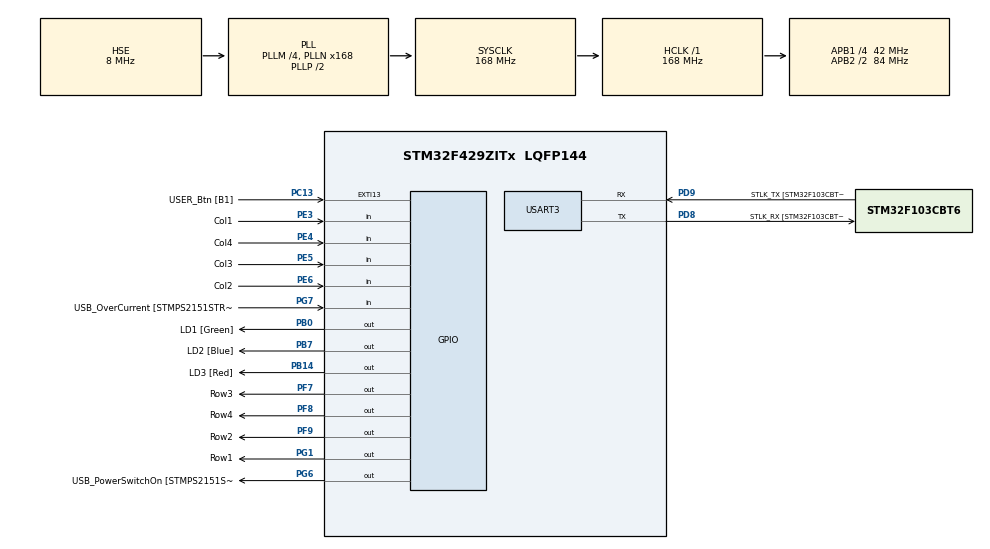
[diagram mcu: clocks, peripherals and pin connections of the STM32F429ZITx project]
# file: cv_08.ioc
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Mcu.Family=STM32F4
Mcu.Name=STM32F429ZITx
Mcu.Package=LQFP144
NVIC.PriorityGroup=NVIC_PRIORITYGROUP_4
NVIC.TIM3_IRQn=true\:0\:0\:false\:false\:true\:true\:true
PA1.GPIO_Label=RMII_REF_CLK [LAN8742A-CZ-TR_REFCLK0]
PA1.Signal=ETH_REF_CLK
PA10.GPIO_Label=USB_ID
PA10.Signal=USB_OTG_FS_ID
PA11.GPIO_Label=USB_DM
PA11.Signal=USB_OTG_FS_DM
PA12.GPIO_Label=USB_DP
PA12.Signal=USB_OTG_FS_DP
PA13.GPIO_Label=TMS
PA13.Mode=Serial_Wire
PA13.Signal=SYS_JTMS-SWDIO
PA14.GPIO_Label=TCK
PA14.Mode=Serial_Wire
PA14.Signal=SYS_JTCK-SWCLK
PA2.GPIO_Label=RMII_MDIO [LAN8742A-CZ-TR_MDIO]
PA2.Signal=ETH_MDIO
PA7.GPIO_Label=RMII_CRS_DV [LAN8742A-CZ-TR_CRS_DV]
PA7.Signal=ETH_CRS_DV
PA8.GPIO_Label=USB_SOF [TP1]
PA8.Signal=USB_OTG_FS_SOF
PA9.GPIO_Label=USB_VBUS
PA9.Signal=USB_OTG_FS_VBUS
PB0.GPIO_Label=LD1 [Green]
PB0.Signal=GPIO_Output
PB13.GPIO_Label=RMII_TXD1 [LAN8742A-CZ-TR_TXD1]
PB13.Signal=ETH_TXD1
PB14.GPIO_Label=LD3 [Red]
PB14.Signal=GPIO_Output
PB7.GPIO_Label=LD2 [Blue]
PB7.Signal=GPIO_Output
PC1.GPIO_Label=RMII_MDC [LAN8742A-CZ-TR_MDC]
PC1.Signal=ETH_MDC
PC13.GPIO_Label=USER_Btn [B1]
PC13.Signal=GPXTI13
PC14/OSC32_IN.Mode=LSE-External-Oscillator
PC14/OSC32_IN.Signal=RCC_OSC32_IN
PC15/OSC32_OUT.Mode=LSE-External-Oscillator
PC15/OSC32_OUT.Signal=RCC_OSC32_OUT
PC4.GPIO_Label=RMII_RXD0 [LAN8742A-CZ-TR_RXD0]
PC4.Signal=ETH_RXD0
PC5.GPIO_Label=RMII_RXD1 [LAN8742A-CZ-TR_RXD1]
PC5.Signal=ETH_RXD1
PD8.GPIO_Label=STLK_RX [STM32F103CBT6_PA3]
PD8.Mode=Asynchronous
PD8.Signal=USART3_TX
PD9.GPIO_Label=STLK_TX [STM32F103CBT6_PA2]
PD9.Mode=Asynchronous
PD9.Signal=USART3_RX
PE3.GPIO_Label=Col1
PE3.GPIO_PuPd=GPIO_PULLUP
PE3.Signal=GPIO_Input
PE4.GPIO_Label=Col4
PE4.GPIO_PuPd=GPIO_PULLUP
PE4.Signal=GPIO_Input
PE5.GPIO_Label=Col3
PE5.GPIO_PuPd=GPIO_PULLUP
PE5.Signal=GPIO_Input
PE6.GPIO_Label=Col2
PE6.GPIO_PuPd=GPIO_PULLUP
PE6.Signal=GPIO_Input
PF7.GPIO_Label=Row3
PF7.GPIO_ModeDefaultOutputPP=GPIO_MODE_OUTPUT_OD
PF7.Signal=GPIO_Output
PF8.GPIO_Label=Row4
PF8.GPIO_ModeDefaultOutputPP=GPIO_MODE_OUTPUT_OD
PF8.Signal=GPIO_Output
PF9.GPIO_Label=Row2
PF9.GPIO_ModeDefaultOutputPP=GPIO_MODE_OUTPUT_OD
PF9.Signal=GPIO_Output
PG1.GPIO_Label=Row1
PG1.GPIO_ModeDefaultOutputPP=GPIO_MODE_OUTPUT_OD
PG1.Signal=GPIO_Output
PG11.GPIO_Label=RMII_TX_EN [LAN8742A-CZ-TR_TXEN]
PG11.Signal=ETH_TX_EN
PG13.GPIO_Label=RMII_TXD0 [LAN8742A-CZ-TR_TXD0]
PG13.Signal=ETH_TXD0
PG6.GPIO_Label=USB_PowerSwitchOn [STMPS2151STR_EN]
PG6.Signal=GPIO_Output
PG7.GPIO_Label=USB_OverCurrent [STMPS2151STR_FAULT]
PG7.Signal=GPIO_Input
PH0/OSC_IN.GPIO_Label=MCO [STM32F103CBT6_PA8]
PH0/OSC_IN.Mode=HSE-External-Clock-Source
PH0/OSC_IN.Signal=RCC_OSC_IN
PH1/OSC_OUT.Mode=HSE-External-Clock-Source
PH1/OSC_OUT.Signal=RCC_OSC_OUT
ProjectManager.HeapSize=0x200
ProjectManager.StackSize=0x400
ProjectManager.TargetToolchain=STM32CubeIDE
RCC.48MHZClocksFreq_Value=48000000
RCC.AHBFreq_Value=168000000
RCC.APB1CLKDivider=RCC_HCLK_DIV4
RCC.APB1Freq_Value=42000000
RCC.APB1TimFreq_Value=84000000
RCC.APB2CLKDivider=RCC_HCLK_DIV2
RCC.APB2Freq_Value=84000000
RCC.APB2TimCLKDivider=2
RCC.APB2TimFreq_Value=168000000
RCC.CortexFreq_Value=168000000
RCC.HCLKFreq_Value=168000000
RCC.HSE_VALUE=8000000
RCC.HSI_VALUE=16000000
RCC.PLLM=4
RCC.PLLMUL=RCC_PLL_MUL9
RCC.PLLN=168
RCC.PLLQ=7
RCC.PLLSourceVirtual=RCC_PLLSOURCE_HSE
RCC.PRESCALERUSB=RCC_USBCLKSOURCE_PLL_DIV1_5
RCC.SYSCLKFreq_VALUE=168000000
RCC.SYSCLKSource=RCC_SYSCLKSOURCE_PLLCLK
RCC.SYSCLKSourceVirtual=RCC_SYSCLKSOURCE_PLLCLK
RCC.USBFreq_Value=48000000
RCC.VCOOutputFreq_Value=336000000
TIM3.AutoReloadPreload=TIM_AUTORELOAD_PRELOAD_ENABLE
TIM3.Period=99
TIM3.Prescaler=8399
USART3.VirtualMode=VM_ASYNC
VP_TIM3_VS_ClockSourceINT.Mode=Internal
board=NUCLEO-F429ZI

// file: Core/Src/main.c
/* USER CODE BEGIN Header */
/**
  ******************************************************************************
  * @file           : main.c
  * @brief          : Main program body
  ******************************************************************************
  * @attention
  *
  * <h2><center>&copy; Copyright (c) 2021 STMicroelectronics.
  * All rights reserved.</center></h2>
  *
  * This software component is licensed by ST under BSD 3-Clause license,
  * the "License"; You may not use this file except in compliance with the
  * License. You may obtain a copy of the License at:
  *                        opensource.org/licenses/BSD-3-Clause
  *
  ******************************************************************************
  */
/* USER CODE END Header */
#include "main.h"

/* USER CODE BEGIN Includes */
#include <stdio.h>

/* USER CODE END Includes */

TIM_HandleTypeDef htim3;

UART_HandleTypeDef huart3;

/* USER CODE BEGIN PV */
volatile int key;
static const int locker [5]={ 7, 9, 3, 2, 12 };
static uint8_t input [5]={0, 0, 0, 0, 0};

/* USER CODE END PV */

void SystemClock_Config(void);
static void MX_GPIO_Init(void);
static void MX_USART3_UART_Init(void);
static void MX_TIM3_Init(void);

/* USER CODE BEGIN 0 */
	int __io_putchar(int ch)
	{
	 ITM_SendChar(ch);
	return 0;
	}

/* USER CODE END 0 */

int main(void)
{
  /* USER CODE BEGIN 1 */
	uint8_t Pointer = 0;
	uint32_t tick;
  /* USER CODE END 1 */

  /* MCU Configuration--------------------------------------------------------*/

  /* Reset of all peripherals, Initializes the Flash interface and the Systick. */
  HAL_Init();

  /* Configure the system clock */
  SystemClock_Config();

  /* Initialize all configured peripherals */
  MX_GPIO_Init();
  MX_USART3_UART_Init();
  MX_TIM3_Init();
  /* USER CODE BEGIN 2 */
  HAL_TIM_Base_Start_IT(&htim3);
  /* USER CODE END 2 */

  /* Infinite loop */
  /* USER CODE BEGIN WHILE */
  while (1)
  {

	  //HAL_GPIO_TogglePin(LD1_GPIO_Port, LD1_Pin);
	  if(key != -1) {
		  if (HAL_GetTick() > (tick + 3000)) {
			  Pointer = 0;
			  printf("timeout\n");
		  }
		  printf("stisknuto: %d \n", key);
		  //input[Pointer] = key;
		  if (key == locker[Pointer]){
			  Pointer++;
			  tick = HAL_GetTick();
		  } else {
			  Pointer = 0;
		  }

		  if (Pointer == 5) {
			  HAL_GPIO_TogglePin(LD1_GPIO_Port, LD1_Pin);
			  printf("odemceno\n");
		  }
		  HAL_Delay(200);
		  key = -1;

	  }

	  /* USER CODE END WHILE */

  }
}

void SystemClock_Config(void)
{
  RCC_OscInitTypeDef RCC_OscInitStruct = {0};
  RCC_ClkInitTypeDef RCC_ClkInitStruct = {0};

  /** Configure the main internal regulator output voltage
  */
  __HAL_RCC_PWR_CLK_ENABLE();
  __HAL_PWR_VOLTAGESCALING_CONFIG(PWR_REGULATOR_VOLTAGE_SCALE1);
  /** Initializes the RCC Oscillators according to the specified parameters
  * in the RCC_OscInitTypeDef structure.
  */
  RCC_OscInitStruct.OscillatorType = RCC_OSCILLATORTYPE_HSE;
  RCC_OscInitStruct.HSEState = RCC_HSE_BYPASS;
  RCC_OscInitStruct.PLL.PLLState = RCC_PLL_ON;
  RCC_OscInitStruct.PLL.PLLSource = RCC_PLLSOURCE_HSE;
  RCC_OscInitStruct.PLL.PLLM = 4;
  RCC_OscInitStruct.PLL.PLLN = 168;
  RCC_OscInitStruct.PLL.PLLP = RCC_PLLP_DIV2;
  RCC_OscInitStruct.PLL.PLLQ = 7;
  if (HAL_RCC_OscConfig(&RCC_OscInitStruct) != HAL_OK)
  {
    Error_Handler();
  }
  /** Initializes the CPU, AHB and APB buses clocks
  */
  RCC_ClkInitStruct.ClockType = RCC_CLOCKTYPE_HCLK|RCC_CLOCKTYPE_SYSCLK
                              |RCC_CLOCKTYPE_PCLK1|RCC_CLOCKTYPE_PCLK2;
  RCC_ClkInitStruct.SYSCLKSource = RCC_SYSCLKSOURCE_PLLCLK;
  RCC_ClkInitStruct.AHBCLKDivider = RCC_SYSCLK_DIV1;
  RCC_ClkInitStruct.APB1CLKDivider = RCC_HCLK_DIV4;
  RCC_ClkInitStruct.APB2CLKDivider = RCC_HCLK_DIV2;

  if (HAL_RCC_ClockConfig(&RCC_ClkInitStruct, FLASH_LATENCY_5) != HAL_OK)
  {
    Error_Handler();
  }
}

static void MX_TIM3_Init(void)
{

  TIM_ClockConfigTypeDef sClockSourceConfig = {0};
  TIM_MasterConfigTypeDef sMasterConfig = {0};

  htim3.Instance = TIM3;
  htim3.Init.Prescaler = 8399;
  htim3.Init.CounterMode = TIM_COUNTERMODE_UP;
  htim3.Init.Period = 99;
  htim3.Init.ClockDivision = TIM_CLOCKDIVISION_DIV1;
  htim3.Init.AutoReloadPreload = TIM_AUTORELOAD_PRELOAD_ENABLE;
  if (HAL_TIM_Base_Init(&htim3) != HAL_OK)
  {
    Error_Handler();
  }
  sClockSourceConfig.ClockSource = TIM_CLOCKSOURCE_INTERNAL;
  if (HAL_TIM_ConfigClockSource(&htim3, &sClockSourceConfig) != HAL_OK)
  {
    Error_Handler();
  }
  sMasterConfig.MasterOutputTrigger = TIM_TRGO_RESET;
  sMasterConfig.MasterSlaveMode = TIM_MASTERSLAVEMODE_DISABLE;
  if (HAL_TIMEx_MasterConfigSynchronization(&htim3, &sMasterConfig) != HAL_OK)
  {
    Error_Handler();
  }

}

static void MX_USART3_UART_Init(void)
{

  huart3.Instance = USART3;
  huart3.Init.BaudRate = 115200;
  huart3.Init.WordLength = UART_WORDLENGTH_8B;
  huart3.Init.StopBits = UART_STOPBITS_1;
  huart3.Init.Parity = UART_PARITY_NONE;
  huart3.Init.Mode = UART_MODE_TX_RX;
  huart3.Init.HwFlowCtl = UART_HWCONTROL_NONE;
  huart3.Init.OverSampling = UART_OVERSAMPLING_16;
  if (HAL_UART_Init(&huart3) != HAL_OK)
  {
    Error_Handler();
  }

}

static void MX_GPIO_Init(void)
{
  GPIO_InitTypeDef GPIO_InitStruct = {0};

  /* GPIO Ports Clock Enable */
  __HAL_RCC_GPIOE_CLK_ENABLE();
  __HAL_RCC_GPIOC_CLK_ENABLE();
  __HAL_RCC_GPIOF_CLK_ENABLE();
  __HAL_RCC_GPIOH_CLK_ENABLE();
  __HAL_RCC_GPIOA_CLK_ENABLE();
  __HAL_RCC_GPIOB_CLK_ENABLE();
  __HAL_RCC_GPIOG_CLK_ENABLE();
  __HAL_RCC_GPIOD_CLK_ENABLE();

  /*Configure GPIO pin Output Level */
  HAL_GPIO_WritePin(GPIOF, Row3_Pin|Row4_Pin|Row2_Pin, GPIO_PIN_RESET);

  /*Configure GPIO pin Output Level */
  HAL_GPIO_WritePin(GPIOB, LD1_Pin|LD3_Pin|LD2_Pin, GPIO_PIN_RESET);

  /*Configure GPIO pin Output Level */
  HAL_GPIO_WritePin(GPIOG, Row1_Pin|USB_PowerSwitchOn_Pin, GPIO_PIN_RESET);

  /*Configure GPIO pins : Col1_Pin Col4_Pin Col3_Pin Col2_Pin */
  GPIO_InitStruct.Pin = Col1_Pin|Col4_Pin|Col3_Pin|Col2_Pin;
  GPIO_InitStruct.Mode = GPIO_MODE_INPUT;
  GPIO_InitStruct.Pull = GPIO_PULLUP;
  HAL_GPIO_Init(GPIOE, &GPIO_InitStruct);

  /*Configure GPIO pin : USER_Btn_Pin */
  GPIO_InitStruct.Pin = USER_Btn_Pin;
  GPIO_InitStruct.Mode = GPIO_MODE_IT_RISING;
  GPIO_InitStruct.Pull = GPIO_NOPULL;
  HAL_GPIO_Init(USER_Btn_GPIO_Port, &GPIO_InitStruct);

  /*Configure GPIO pins : Row3_Pin Row4_Pin Row2_Pin */
  GPIO_InitStruct.Pin = Row3_Pin|Row4_Pin|Row2_Pin;
  GPIO_InitStruct.Mode = GPIO_MODE_OUTPUT_OD;
  GPIO_InitStruct.Pull = GPIO_NOPULL;
  GPIO_InitStruct.Speed = GPIO_SPEED_FREQ_LOW;
  HAL_GPIO_Init(GPIOF, &GPIO_InitStruct);

  /*Configure GPIO pins : RMII_MDC_Pin RMII_RXD0_Pin RMII_RXD1_Pin */
  GPIO_InitStruct.Pin = RMII_MDC_Pin|RMII_RXD0_Pin|RMII_RXD1_Pin;
  GPIO_InitStruct.Mode = GPIO_MODE_AF_PP;
  GPIO_InitStruct.Pull = GPIO_NOPULL;
  GPIO_InitStruct.Speed = GPIO_SPEED_FREQ_VERY_HIGH;
  GPIO_InitStruct.Alternate = GPIO_AF11_ETH;
  HAL_GPIO_Init(GPIOC, &GPIO_InitStruct);

  /*Configure GPIO pins : RMII_REF_CLK_Pin RMII_MDIO_Pin RMII_CRS_DV_Pin */
  GPIO_InitStruct.Pin = RMII_REF_CLK_Pin|RMII_MDIO_Pin|RMII_CRS_DV_Pin;
  GPIO_InitStruct.Mode = GPIO_MODE_AF_PP;
  GPIO_InitStruct.Pull = GPIO_NOPULL;
  GPIO_InitStruct.Speed = GPIO_SPEED_FREQ_VERY_HIGH;
  GPIO_InitStruct.Alternate = GPIO_AF11_ETH;
  HAL_GPIO_Init(GPIOA, &GPIO_InitStruct);

  /*Configure GPIO pins : LD1_Pin LD3_Pin LD2_Pin */
  GPIO_InitStruct.Pin = LD1_Pin|LD3_Pin|LD2_Pin;
  GPIO_InitStruct.Mode = GPIO_MODE_OUTPUT_PP;
  GPIO_InitStruct.Pull = GPIO_NOPULL;
  GPIO_InitStruct.Speed = GPIO_SPEED_FREQ_LOW;
  HAL_GPIO_Init(GPIOB, &GPIO_InitStruct);

  /*Configure GPIO pin : Row1_Pin */
  GPIO_InitStruct.Pin = Row1_Pin;
  GPIO_InitStruct.Mode = GPIO_MODE_OUTPUT_OD;
  GPIO_InitStruct.Pull = GPIO_NOPULL;
  GPIO_InitStruct.Speed = GPIO_SPEED_FREQ_LOW;
  HAL_GPIO_Init(Row1_GPIO_Port, &GPIO_InitStruct);

  /*Configure GPIO pin : RMII_TXD1_Pin */
  GPIO_InitStruct.Pin = RMII_TXD1_Pin;
  GPIO_InitStruct.Mode = GPIO_MODE_AF_PP;
  GPIO_InitStruct.Pull = GPIO_NOPULL;
  GPIO_InitStruct.Speed = GPIO_SPEED_FREQ_VERY_HIGH;
  GPIO_InitStruct.Alternate = GPIO_AF11_ETH;
  HAL_GPIO_Init(RMII_TXD1_GPIO_Port, &GPIO_InitStruct);

  /*Configure GPIO pin : USB_PowerSwitchOn_Pin */
  GPIO_InitStruct.Pin = USB_PowerSwitchOn_Pin;
  GPIO_InitStruct.Mode = GPIO_MODE_OUTPUT_PP;
  GPIO_InitStruct.Pull = GPIO_NOPULL;
  GPIO_InitStruct.Speed = GPIO_SPEED_FREQ_LOW;
  HAL_GPIO_Init(USB_PowerSwitchOn_GPIO_Port, &GPIO_InitStruct);

  /*Configure GPIO pin : USB_OverCurrent_Pin */
  GPIO_InitStruct.Pin = USB_OverCurrent_Pin;
  GPIO_InitStruct.Mode = GPIO_MODE_INPUT;
  GPIO_InitStruct.Pull = GPIO_NOPULL;
  HAL_GPIO_Init(USB_OverCurrent_GPIO_Port, &GPIO_InitStruct);

  /*Configure GPIO pins : USB_SOF_Pin USB_ID_Pin USB_DM_Pin USB_DP_Pin */
  GPIO_InitStruct.Pin = USB_SOF_Pin|USB_ID_Pin|USB_DM_Pin|USB_DP_Pin;
  GPIO_InitStruct.Mode = GPIO_MODE_AF_PP;
  GPIO_InitStruct.Pull = GPIO_NOPULL;
  GPIO_InitStruct.Speed = GPIO_SPEED_FREQ_VERY_HIGH;
  GPIO_InitStruct.Alternate = GPIO_AF10_OTG_FS;
  HAL_GPIO_Init(GPIOA, &GPIO_InitStruct);

  /*Configure GPIO pin : USB_VBUS_Pin */
  GPIO_InitStruct.Pin = USB_VBUS_Pin;
  GPIO_InitStruct.Mode = GPIO_MODE_INPUT;
  GPIO_InitStruct.Pull = GPIO_NOPULL;
  HAL_GPIO_Init(USB_VBUS_GPIO_Port, &GPIO_InitStruct);

  /*Configure GPIO pins : RMII_TX_EN_Pin RMII_TXD0_Pin */
  GPIO_InitStruct.Pin = RMII_TX_EN_Pin|RMII_TXD0_Pin;
  GPIO_InitStruct.Mode = GPIO_MODE_AF_PP;
  GPIO_InitStruct.Pull = GPIO_NOPULL;
  GPIO_InitStruct.Speed = GPIO_SPEED_FREQ_VERY_HIGH;
  GPIO_InitStruct.Alternate = GPIO_AF11_ETH;
  HAL_GPIO_Init(GPIOG, &GPIO_InitStruct);

}

/* USER CODE BEGIN 4 */
void HAL_TIM_PeriodElapsedCallback(TIM_HandleTypeDef *htim)
{
	static int row = 0;
	static const int keyboard[4][4] = {
			{ 1, 2, 3, 21 },
			{ 4, 5, 6, 22 },
			{ 7, 8, 9, 23 },
			{ 11, 0, 12, 24 },
	};
	if (key == -1) {
		if (HAL_GPIO_ReadPin(Col1_GPIO_Port, Col1_Pin) == GPIO_PIN_RESET) key = keyboard[row][0];
		if (HAL_GPIO_ReadPin(Col2_GPIO_Port, Col2_Pin) == GPIO_PIN_RESET) key = keyboard[row][1];
		if (HAL_GPIO_ReadPin(Col3_GPIO_Port, Col3_Pin) == GPIO_PIN_RESET) key = keyboard[row][2];
		if (HAL_GPIO_ReadPin(Col4_GPIO_Port, Col4_Pin) == GPIO_PIN_RESET) key = keyboard[row][3];
	}
	HAL_GPIO_WritePin(Row1_GPIO_Port, Row1_Pin, GPIO_PIN_SET);
	HAL_GPIO_WritePin(Row2_GPIO_Port, Row2_Pin, GPIO_PIN_SET);
	HAL_GPIO_WritePin(Row3_GPIO_Port, Row3_Pin, GPIO_PIN_SET);
	HAL_GPIO_WritePin(Row4_GPIO_Port, Row4_Pin, GPIO_PIN_SET);
	switch (row) {
	case 0: row = 1; HAL_GPIO_WritePin(Row2_GPIO_Port, Row2_Pin, GPIO_PIN_RESET); break;
	case 1: row = 2; HAL_GPIO_WritePin(Row3_GPIO_Port, Row3_Pin, GPIO_PIN_RESET); break;
	case 2: row = 3; HAL_GPIO_WritePin(Row4_GPIO_Port, Row4_Pin, GPIO_PIN_RESET); break;
	case 3: row = 0; HAL_GPIO_WritePin(Row1_GPIO_Port, Row1_Pin, GPIO_PIN_RESET); break;
	}
}
/* USER CODE END 4 */

void Error_Handler(void)
{
  __disable_irq();
  while (1)
  {
  }
}

/************************ (C) COPYRIGHT STMicroelectronics *****END OF FILE****/
